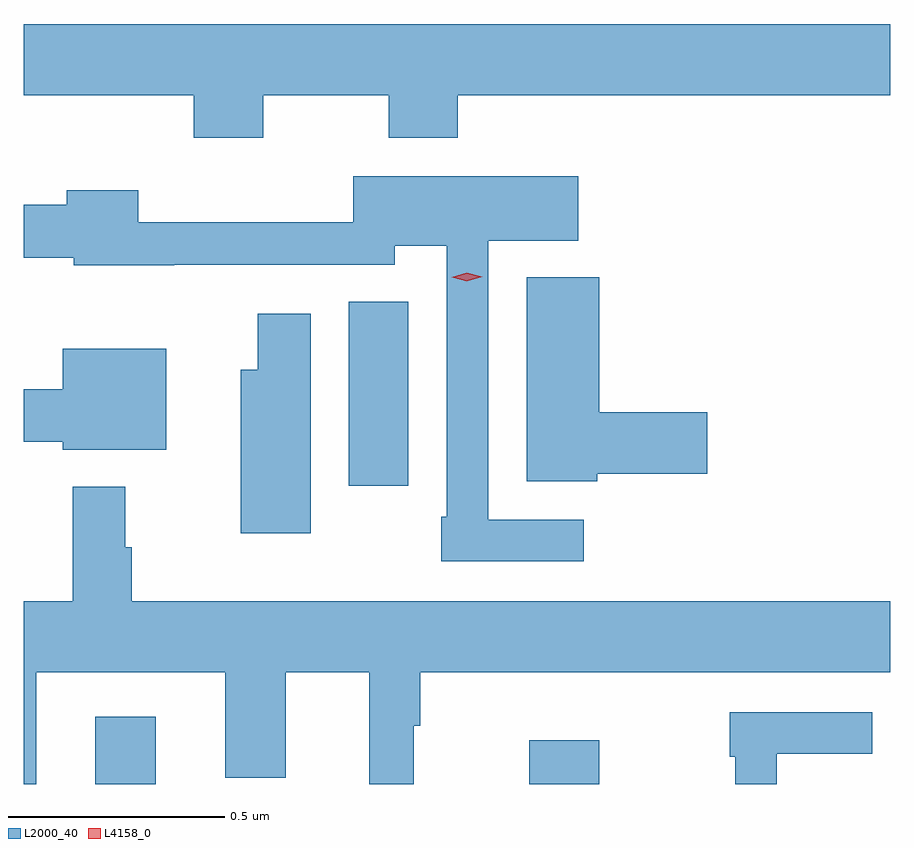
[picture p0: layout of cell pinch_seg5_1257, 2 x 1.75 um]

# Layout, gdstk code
import gdstk
lib = gdstk.Library(unit=1e-6, precision=1e-09)
def R(c, l, rs):  # rectangles x0, y0, x1, y1
    for r in rs: c.add(gdstk.rectangle(r[:2], r[2:], *l))
def P(c, l, *ps):  # polygons
    for p in ps: c.add(gdstk.Polygon(p, *l))
L2000_40 = (2000, 40)
L4158_0 = (4158, 0)

pinch_seg5_1257 = lib.new_cell('pinch_seg5_1257')
R(pinch_seg5_1257, L2000_40, [(435.827,900.458,435.967,900.613), (436.829,900.458,436.99,900.559), (436.412,901.146,436.549,901.571)])
P(pinch_seg5_1257, L2000_40, [(436.215,902.048),(436.504,902.048),(436.504,901.949),(436.664,901.949),(436.664,902.048),(437.662,902.048),(437.662,902.212),(435.662,902.212),(435.662,902.048),(436.055,902.048),(436.055,901.949),(436.215,901.949)],
  [(436.954,901.068),(436.734,901.068),(436.734,901.712),(436.942,901.712),(436.942,901.861),(436.422,901.861),(436.422,901.754),(435.926,901.754),(435.926,901.828),(435.761,901.828),(435.761,901.795),(435.662,901.795),(435.662,901.673),(435.777,901.673),(435.777,901.655),(436.009,901.655),(436.009,901.656),(436.518,901.656),(436.518,901.7),(436.638,901.7),(436.638,901.075),(436.626,901.075),(436.626,900.972),(436.954,900.972)],
  [(436.986,901.174),(437.239,901.174),(437.239,901.316),(436.99,901.316),(436.99,901.627),(436.823,901.627),(436.823,901.157),(436.986,901.157)],
  [(436.324,901.543),(436.202,901.543),(436.202,901.414),(436.163,901.414),(436.163,901.037),(436.324,901.037)],
  [(435.991,901.462),(435.752,901.462),(435.752,901.369),(435.662,901.369),(435.662,901.248),(435.752,901.248),(435.752,901.229),(435.991,901.229)],
  [(435.911,901.004),(435.896,901.004),(435.896,901.144),(435.775,901.144),(435.775,900.88),(435.662,900.88),(435.662,900.458),(435.691,900.458),(435.691,900.716),(436.127,900.716),(436.127,900.473),(436.267,900.473),(436.267,900.716),(436.46,900.716),(436.46,900.458),(436.562,900.458),(436.562,900.593),(436.577,900.593),(436.577,900.716),(437.662,900.716),(437.662,900.88),(435.911,900.88)],
  [(437.4,900.528),(437.62,900.528),(437.62,900.624),(437.292,900.624),(437.292,900.521),(437.304,900.521),(437.304,900.458),(437.4,900.458)])
P(pinch_seg5_1257, L4158_0, [(436.685,901.618),(436.65,901.627),(436.65,901.628),(436.65,901.628),(436.685,901.638),(436.72,901.629),(436.72,901.629),(436.72,901.629)])

lib.write_gds('pinch_seg5_1257.gds')
